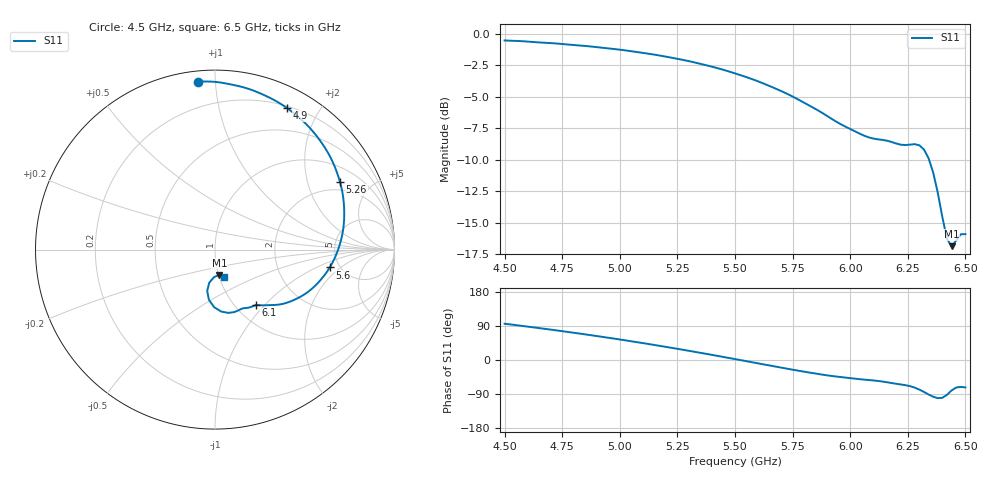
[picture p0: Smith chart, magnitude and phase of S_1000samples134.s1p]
! TOUCHSTONE file generated by CST MICROWAVE STUDIO
! Date and time: Thu Oct 27 02:55:45 2022
! Project name: L.cst
! Parameters = {Di=1.27; Epsilon_r=1.56; InnerDiameter=1.27; Length=2; Lf=10; Lg=60; OuterConductorThickness=0.2921; OuterDiameter=3.6; Wf=3; Wp=41.2; de=1.5; df=6.8; g=0.8; gx=3.99688; gy=4.95293; h=2.34; hf=1.524; px=14.3962; py=13.3126; w=9.7; wx=10.3993; wy=8.35971}
! Header version: 2018
! Port assignment regex: !\s*Touchstone port\s*([0-9]+)\s*=\s*(CST MWS port|CST DS port)\s*([0-9]+|Zmin|Zmax)\s*\(\"(.*)\"\)(\s*mode\s*([0-9]+))?.*
! Touchstone port assignment:
! Touchstone port 1 = CST MWS port 1 ("")
# GHz S DB R 50
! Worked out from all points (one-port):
!   101 points, 4.5 GHz to 6.5 GHz, reference 50 ohm
!   lowest |S11| = -16.9 dB at 6.44 GHz (marker M1), VSWR 1.33, Z = 50.4 - j14.5 ohm
!   |S11| at or under -10 dB: 6.342 GHz to end of sweep
!   S11 on the Smith chart (normalised r, x): 4.5 GHz: 0.06, +0.90; 4.9 GHz: 0.22, +1.60; 5.26 GHz: 1.59, +3.22; 5.6 GHz: 4.15, -1.42; 6.1 GHz: 1.23, -0.89; 6.5 GHz: 1.05, -0.33
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4.5  -0.53 95.7
4.62  -0.65 86.5
4.76  -0.83 75.2
4.9  -1.06 63.2
5  -1.26 54.1
5.14  -1.63 40.7
5.26  -2.02 28.5
5.38  -2.52 15.7
5.44  -2.81 9.1
5.5  -3.15 2.4
5.6  -3.78 -8.8
5.68  -4.39 -17.8
5.76  -5.08 -26.6
5.88  -6.30 -38.7
6  -7.57 -47.8
6.1  -8.33 -53.9
6.26  -8.81 -69.1
6.3  -8.86 -78.0
6.32  -9.19 -84.3
6.34  -9.88 -90.9
6.36  -11.01 -96.9
6.38  -12.62 -100.7
6.4  -14.57 -99.8
6.42  -16.29 -92.0
6.44  -16.88 -80.3
6.46  -16.43 -72.6
6.48  -15.93 -70.9
6.5  -15.92 -72.4
